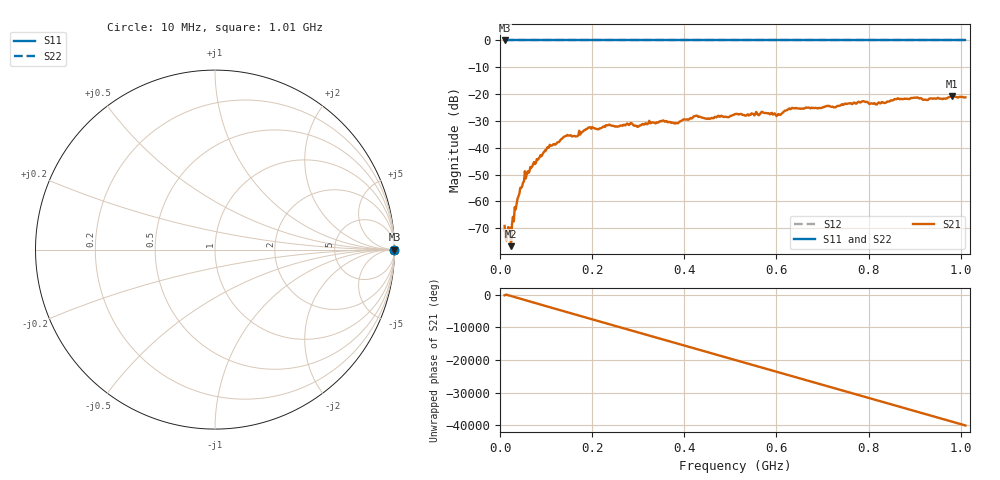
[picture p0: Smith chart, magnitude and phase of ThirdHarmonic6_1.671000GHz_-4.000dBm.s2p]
! 8/16/2025 8:02:05 PM
! C:\ANRITSUVNA\TEMP\TEMP.S2P
! CHANNEL.1
! TR.MEASUREMENT
! RAW.DATA
! RF.CORRECTION.OFF
! AVERAGING.OFF
! IF.BANDWIDTH: 5KHZ
! SWEEPTYPE:  FREQ.SWEEP(Linear)
! Reference Plane Port Info
! PORT:  PORT1  PORT2
! DISTANCE:  0  m  0  m
! TIME:  0  s  0  s
! PHASE.OFFSET:  0  deg.  0  deg.
! LOSS:  0  dB  0  dB
! REF.LOSS:  0  dB  0  dB
! REF.FREQ:  0  Hz  0  Hz
! Power Info
! POWER:  -20  dBm  -20  dBm
! EFF.POWER:  -20  dBm  -20  dBm
! SOURCE.ATTEN:  0  dB  0  dB
! TEST.ATTEN:  0  dB  0  dB
# GHZ S RI R 50.0
! FREQ.GHZ  S11RE  S11IM  S21RE  S21IM  S12RE  S12IM  S22RE  S22IM
!; PortSelection: Port_12
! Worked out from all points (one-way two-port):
!   501 points, 10 MHz to 1.01 GHz, reference 50 ohm
!   highest |S21| = -20.86 dB at 980 MHz (marker M1); lowest = -76.7 dB at 24 MHz (marker M2)
!   lowest |S11| = 0.0 dB at 10 MHz (marker M3)
!   |S11| at or under -10 dB: nowhere
!   |S22| runs from 0.0 to 0.0 dB; largest |S21 - S12| = 1.1
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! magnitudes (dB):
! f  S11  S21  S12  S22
! 10 MHz  0.0  -69.2  0.0  0.0
! 16 MHz  0.0  -71.9  0.0  0.0
! 24 MHz  0.0  -76.7  0.0  0.0
! 42 MHz  0.0  -57.2  0.0  0.0
! 56 MHz  0.0  -51.4  0.0  0.0
! 70 MHz  0.0  -47.0  0.0  0.0
! 106 MHz  0.0  -40.0  0.0  0.0
! 142 MHz  0.0  -35.7  0.0  0.0
! 178 MHz  0.0  -34.2  0.0  0.0
! 234 MHz  0.0  -31.6  0.0  0.0
! 300 MHz  0.0  -32.2  0.0  0.0
! 344 MHz  0.0  -30.6  0.0  0.0
! 382 MHz  0.0  -30.8  0.0  0.0
! 424 MHz  0.0  -28.2  0.0  0.0
! 452 MHz  0.0  -29.1  0.0  0.0
! 510 MHz  0.0  -27.4  0.0  0.0
! 604 MHz  0.0  -27.4  0.0  0.0
! 630 MHz  0.0  -25.6  0.0  0.0
! 678 MHz  0.0  -25.2  0.0  0.0
! 844 MHz  0.0  -22.8  0.0  0.0
! 980 MHz  0.0  -20.9  0.0  0.0
! 1.01 GHz  0.0  -21.2  0.0  0.0
